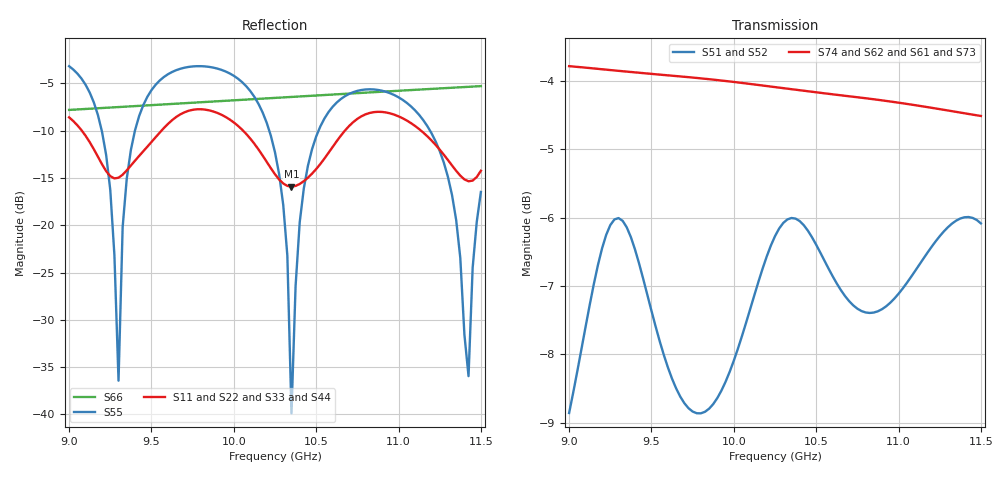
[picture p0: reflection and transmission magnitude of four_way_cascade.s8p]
! Four-way cascade: IN1 IN2 IN3 IN4 OUT DUMP_A DUMP_B DUMP_C
# GHz S MA R 50
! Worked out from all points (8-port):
!   101 points, 9 GHz to 11.5 GHz, reference 50 ohm
!   strongest paths, dB at 9 GHz, 9.625 GHz, 10.25 GHz, 10.88 GHz, 11.5 GHz:
!     S74: -3.8, -3.9, -4.1, -4.3, -4.5
!     S62: -3.8, -3.9, -4.1, -4.3, -4.5
!     S61: -3.8, -4.0, -4.1, -4.3, -4.6
!     S73: -3.8, -4.0, -4.1, -4.3, -4.6
!     S51: -8.9, -8.4, -6.3, -7.4, -6.1
!     S52: -8.9, -8.4, -6.3, -7.4, -6.1
!   lowest |S11| = -15.9 dB at 10.35 GHz (marker M1), VSWR 1.38, Z = 36.7 - j4.14 ohm
!   |S11| at or under -10 dB: 9.077 GHz to 9.56 GHz (483 MHz wide, 5.18 % of centre); 10.06 GHz to 10.67 GHz (617.5 MHz wide, 5.96 % of centre); 11.14 GHz to end of sweep
